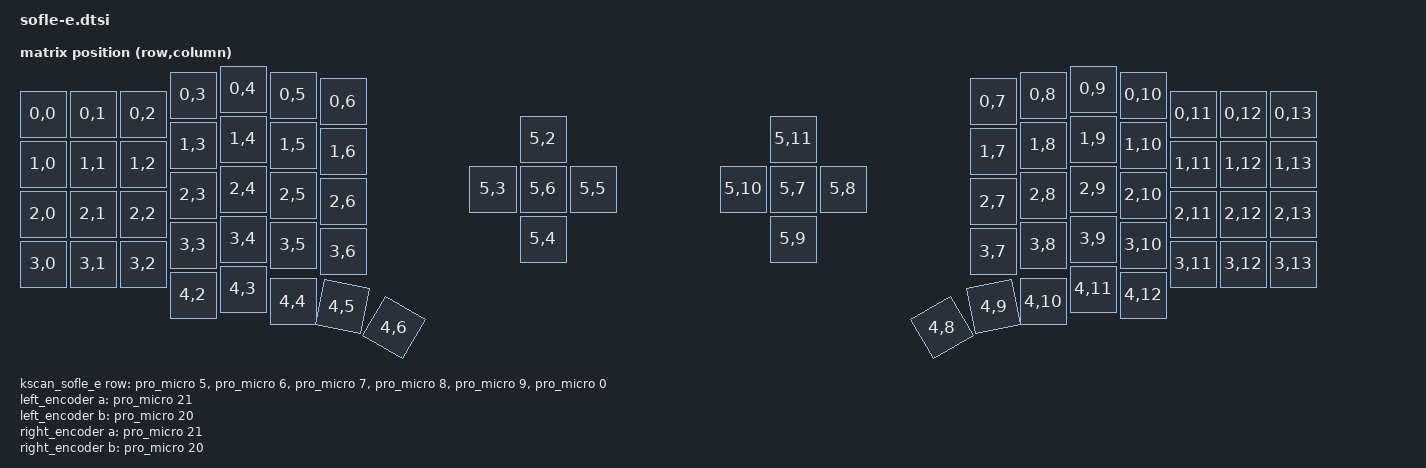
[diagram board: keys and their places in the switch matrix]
/*
 * Copyright (c) 2020 Pete Johanson, Ryan Cross
 *
 * SPDX-License-Identifier: MIT
 */

#include <dt-bindings/zmk/matrix_transform.h>
#include <physical_layouts.dtsi>

&pinctrl {
    spi2_default: spi2_default {
        group1 {
            psels = <NRF_PSEL(SPIM_MOSI, 0, 17)>,
            <NRF_PSEL(SPIM_SCK, 0, 20)>;
        };
    };
    spi2_sleep: spi2_sleep {
        group1 {
            psels = <NRF_PSEL(SPIM_MOSI, 0, 17)>,
            <NRF_PSEL(SPIM_SCK, 0, 20)>;
            low-power-enable;
        };
    };
};


lpm_view_spi: &spi2 {
    compatible = "nordic,nrf-spim";
    pinctrl-0 = <&spi2_default>;
    pinctrl-1 = <&spi2_sleep>;
    pinctrl-names = "default", "sleep";
    cs-gpios = <&gpio0 6 GPIO_ACTIVE_HIGH>;
};

nice_view_spi: &spi2 {
    compatible = "nordic,nrf-spim";
    pinctrl-0 = <&spi2_default>;
    pinctrl-1 = <&spi2_sleep>;
    pinctrl-names = "default", "sleep";
    cs-gpios = <&gpio0 8 GPIO_ACTIVE_HIGH>;
};

/ {
    chosen {
				// zephyr,display = &oled;
        zmk,physical-layout = &sofle_e;
    };
    sofle_e_transform: keymap_transform_0 {
        compatible = "zmk,matrix-transform";
        columns = <14>;
        rows = <6>;
        map = <
RC(0,0) RC(0,1) RC(0,2) RC(0,3) RC(0,4) RC(0,5) RC(0,6)                  RC(0,7) RC(0,8)  RC(0,9) RC(0,10) RC(0,11) RC(0,12) RC(0,13)
RC(1,0) RC(1,1) RC(1,2) RC(1,3) RC(1,4) RC(1,5) RC(1,6)                  RC(1,7) RC(1,8)  RC(1,9) RC(1,10) RC(1,11) RC(1,12) RC(1,13)
RC(2,0) RC(2,1) RC(2,2) RC(2,3) RC(2,4) RC(2,5) RC(2,6)                  RC(2,7) RC(2,8)  RC(2,9) RC(2,10) RC(2,11) RC(2,12) RC(2,13)
RC(3,0) RC(3,1) RC(3,2) RC(3,3) RC(3,4) RC(3,5) RC(3,6)                  RC(3,7) RC(3,8)  RC(3,9) RC(3,10) RC(3,11) RC(3,12) RC(3,13)
								RC(4,2) RC(4,3) RC(4,4) RC(4,5) RC(4,6)                          RC(4,8)  RC(4,9) RC(4,10) RC(4,11) RC(4,12)
                RC(5,2) RC(5,3) RC(5,4) RC(5,5) RC(5,6)                  RC(5,7) RC(5,8) RC(5,9) RC(5,10) RC(5,11)
        >;
    };
    kscan_sofle_e: kscan {
        compatible = "zmk,kscan-gpio-matrix";
        wakeup-source;

        diode-direction = "col2row";
        row-gpios
            = <&pro_micro 5 (GPIO_ACTIVE_HIGH | GPIO_PULL_DOWN)>
            , <&pro_micro 6 (GPIO_ACTIVE_HIGH | GPIO_PULL_DOWN)>
            , <&pro_micro 7 (GPIO_ACTIVE_HIGH | GPIO_PULL_DOWN)>
            , <&pro_micro 8 (GPIO_ACTIVE_HIGH | GPIO_PULL_DOWN)>
            , <&pro_micro 9 (GPIO_ACTIVE_HIGH | GPIO_PULL_DOWN)>
            , <&pro_micro 0 (GPIO_ACTIVE_HIGH | GPIO_PULL_DOWN)>
            ;
    };
		sofle_e:sofle_e {
			compatible = "zmk,physical-layout";
			display-name = "matrix layout";
			kscan = <&kscan_sofle_e>;
			transform = <&sofle_e_transform>;

keys  //                     w   h    x    y     rot   rx   ry
    = <&key_physical_attrs 100 100    0   50       0    0    0>
    , <&key_physical_attrs 100 100  100   50       0    0    0>
    , <&key_physical_attrs 100 100  200   50       0    0    0>
    , <&key_physical_attrs 100 100  300   12       0    0    0>
    , <&key_physical_attrs 100 100  400    0       0    0    0>
    , <&key_physical_attrs 100 100  500   12       0    0    0>
    , <&key_physical_attrs 100 100  600   25       0    0    0>
    , <&key_physical_attrs 100 100 1900   25       0    0    0>
    , <&key_physical_attrs 100 100 2000   12       0    0    0>
    , <&key_physical_attrs 100 100 2100    0       0    0    0>
    , <&key_physical_attrs 100 100 2200   12       0    0    0>
    , <&key_physical_attrs 100 100 2300   50       0    0    0>
    , <&key_physical_attrs 100 100 2400   50       0    0    0>
    , <&key_physical_attrs 100 100 2500   50       0    0    0>
    , <&key_physical_attrs 100 100    0  150       0    0    0>
    , <&key_physical_attrs 100 100  100  150       0    0    0>
    , <&key_physical_attrs 100 100  200  150       0    0    0>
    , <&key_physical_attrs 100 100  300  112       0    0    0>
    , <&key_physical_attrs 100 100  400  100       0    0    0>
    , <&key_physical_attrs 100 100  500  112       0    0    0>
    , <&key_physical_attrs 100 100  600  125       0    0    0>
    , <&key_physical_attrs 100 100 1900  125       0    0    0>
    , <&key_physical_attrs 100 100 2000  112       0    0    0>
    , <&key_physical_attrs 100 100 2100  100       0    0    0>
    , <&key_physical_attrs 100 100 2200  112       0    0    0>
    , <&key_physical_attrs 100 100 2300  150       0    0    0>
    , <&key_physical_attrs 100 100 2400  150       0    0    0>
    , <&key_physical_attrs 100 100 2500  150       0    0    0>
    , <&key_physical_attrs 100 100    0  250       0    0    0>
    , <&key_physical_attrs 100 100  100  250       0    0    0>
    , <&key_physical_attrs 100 100  200  250       0    0    0>
    , <&key_physical_attrs 100 100  300  212       0    0    0>
    , <&key_physical_attrs 100 100  400  200       0    0    0>
    , <&key_physical_attrs 100 100  500  212       0    0    0>
    , <&key_physical_attrs 100 100  600  225       0    0    0>
    , <&key_physical_attrs 100 100 1900  225       0    0    0>
    , <&key_physical_attrs 100 100 2000  212       0    0    0>
    , <&key_physical_attrs 100 100 2100  200       0    0    0>
    , <&key_physical_attrs 100 100 2200  212       0    0    0>
    , <&key_physical_attrs 100 100 2300  250       0    0    0>
    , <&key_physical_attrs 100 100 2400  250       0    0    0>
    , <&key_physical_attrs 100 100 2500  250       0    0    0>
    , <&key_physical_attrs 100 100    0  350       0    0    0>
    , <&key_physical_attrs 100 100  100  350       0    0    0>
    , <&key_physical_attrs 100 100  200  350       0    0    0>
    , <&key_physical_attrs 100 100  300  312       0    0    0>
    , <&key_physical_attrs 100 100  400  300       0    0    0>
    , <&key_physical_attrs 100 100  500  312       0    0    0>
    , <&key_physical_attrs 100 100  600  325       0    0    0>
    , <&key_physical_attrs 100 100 1900  325       0    0    0>
    , <&key_physical_attrs 100 100 2000  312       0    0    0>
    , <&key_physical_attrs 100 100 2100  300       0    0    0>
    , <&key_physical_attrs 100 100 2200  312       0    0    0>
    , <&key_physical_attrs 100 100 2300  350       0    0    0>
    , <&key_physical_attrs 100 100 2400  350       0    0    0>
    , <&key_physical_attrs 100 100 2500  350       0    0    0>
    , <&key_physical_attrs 100 100  300  412       0    0    0>
    , <&key_physical_attrs 100 100  400  400       0    0    0>
    , <&key_physical_attrs 100 100  500  425       0    0    0>
    , <&key_physical_attrs 100 100  500  425    1130  550  980>
    , <&key_physical_attrs 100 100  694  475    3000  744  540>
    , <&key_physical_attrs 100 100 1805  475 (-3000) 1855  540>
    , <&key_physical_attrs 100 100 2000  425 (-1130) 2050  980>
    , <&key_physical_attrs 100 100 2000  425       0    0    0>
    , <&key_physical_attrs 100 100 2100  400       0    0    0>
    , <&key_physical_attrs 100 100 2200  412       0    0    0>
    , <&key_physical_attrs 100 100 1000  100       0    0    0>
    , <&key_physical_attrs 100 100  900  200       0    0    0>
    , <&key_physical_attrs 100 100 1000  300       0    0    0>
    , <&key_physical_attrs 100 100 1100  200       0    0    0>
    , <&key_physical_attrs 100 100 1000  200       0    0    0>
    , <&key_physical_attrs 100 100 1500  200       0    0    0>
    , <&key_physical_attrs 100 100 1600  200       0    0    0>
    , <&key_physical_attrs 100 100 1500  300       0    0    0>
    , <&key_physical_attrs 100 100 1400  200       0    0    0>
    , <&key_physical_attrs 100 100 1500  100       0    0    0>
    ;
		};
    left_encoder: encoder_left {
        compatible = "alps,ec11";
        a-gpios = <&pro_micro 21 (GPIO_ACTIVE_HIGH | GPIO_PULL_UP)>;
        b-gpios = <&pro_micro 20 (GPIO_ACTIVE_HIGH | GPIO_PULL_UP)>;
        steps = <80>;
        status = "disabled";
    };

    right_encoder: encoder_right {
        compatible = "alps,ec11";
        a-gpios = <&pro_micro 21 (GPIO_ACTIVE_HIGH | GPIO_PULL_UP)>;
        b-gpios = <&pro_micro 20 (GPIO_ACTIVE_HIGH | GPIO_PULL_UP)>;
        steps = <80>;
        status = "disabled";
    };

    sensors: sensors {
        compatible = "zmk,keymap-sensors";
        sensors = <&left_encoder &right_encoder>;
        triggers-per-rotation = <20>;
    };
	};
